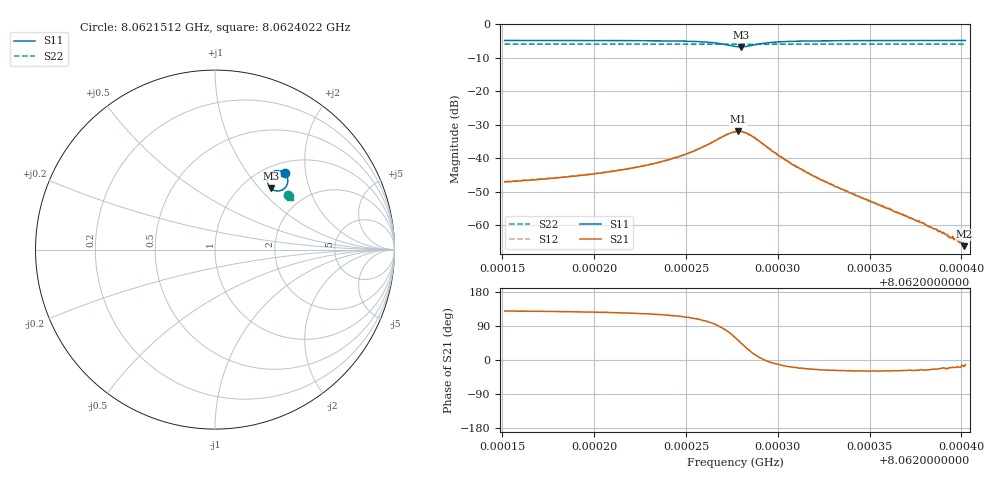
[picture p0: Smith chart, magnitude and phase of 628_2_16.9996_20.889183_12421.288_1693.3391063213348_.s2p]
#  HZ  S  RI  R  50.00
! Rohde & Schwarz Vector Network Analyzer
! Rohde-Schwarz,ZNB20-2Port,1311601062101988,3.16
! Created: UTC 3/20/2024, 11:20:13 PM
! freq[Hz]  re:S11  im:S11  re:S21  im:S21  re:S12  im:S12  re:S22  im:S22
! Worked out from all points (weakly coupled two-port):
!   401 points, 8.0621512 GHz to 8.0624022 GHz, reference 50 ohm
!   highest |S21| = -31.93 dB at 8.0622786 GHz (marker M1); lowest = -66.2 dB at 8.0624015 GHz (marker M2)
!   lowest |S11| = -6.7 dB at 8.0622798 GHz (marker M3), VSWR 2.72, Z = 66.4 + j57.7 ohm
!   |S11| at or under -10 dB: nowhere
!   |S22| runs from -6.0 to -5.9 dB; largest |S21 - S12| = 0.0015
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8.06215122e9  0.3881 0.4253  -0.00283 0.00347  -0.00266 0.00365  0.4075 0.3031
8.06219325e9  0.3936 0.4189  -0.00336 0.00448  -0.00315 0.00472  0.4089 0.3008
8.06221772e9  0.3982 0.4123  -0.00388 0.00577  -0.00357 0.00603  0.4098 0.2993
8.06223528e9  0.4023 0.4035  -0.00435 0.00756  -0.00391 0.00786  0.4106 0.2981
8.06224971e9  0.4056 0.3893  -0.00454 0.0105  -0.00399 0.0109  0.4109 0.2967
8.06226414e9  0.3995 0.3572  -0.00224 0.0172  -0.00128 0.0174  0.4108 0.2948
8.0622723e9  0.3691 0.3301  0.00524 0.0221  0.00636 0.022  0.4094 0.2937
8.06227669e9  0.3351 0.3284  0.0126 0.0215  0.0139 0.021  0.408 0.2938
8.06227857e9  0.3195 0.3348  0.0158 0.0198  0.0171 0.019  0.4076 0.2942
8.06227982e9  0.3105 0.3418  0.0176 0.0179  0.0187 0.0172  0.4072 0.2946
8.0622861e9  0.2929 0.3903  0.0202 0.00694  0.0207 0.00598  0.4073 0.2967
8.06229425e9  0.3142 0.428  0.0146 -0.000775  0.0147 -0.0016  0.409 0.2976
8.06230868e9  0.3465 0.4399  0.0074 -0.00268  0.00748 -0.00307  0.411 0.2968
8.06231872e9  0.3581 0.4392  0.0051 -0.00231  0.00506 -0.00262  0.412 0.2963
8.06233315e9  0.3677 0.437  0.00323 -0.00169  0.00314 -0.00193  0.4127 0.2954
8.06236075e9  0.3773 0.4328  0.00156 -0.00084  0.00151 -0.000987  0.414 0.2936
8.06237831e9  0.3811 0.4305  0.00101 -0.000483  0.000936 -0.000571  0.4146 0.2926
8.0623871e9  0.3825 0.4296  0.00076 -0.000348  0.000761 -0.000351  0.415 0.2921
8.06239149e9  0.3833 0.4292  0.000672 -0.000293  0.000684 -0.000324  0.4152 0.2919
8.06239776e9  0.3841 0.4285  0.000558 -0.000174  0.000569 -0.00021  0.4154 0.2916
8.06240152e9  0.3847 0.4282  0.000469 -0.000145  0.000477 -0.000145  0.4156 0.2915
8.06240215e9  0.3848 0.428  0.000485 -0.000108  0.000502 -0.000179  0.4157 0.2914
